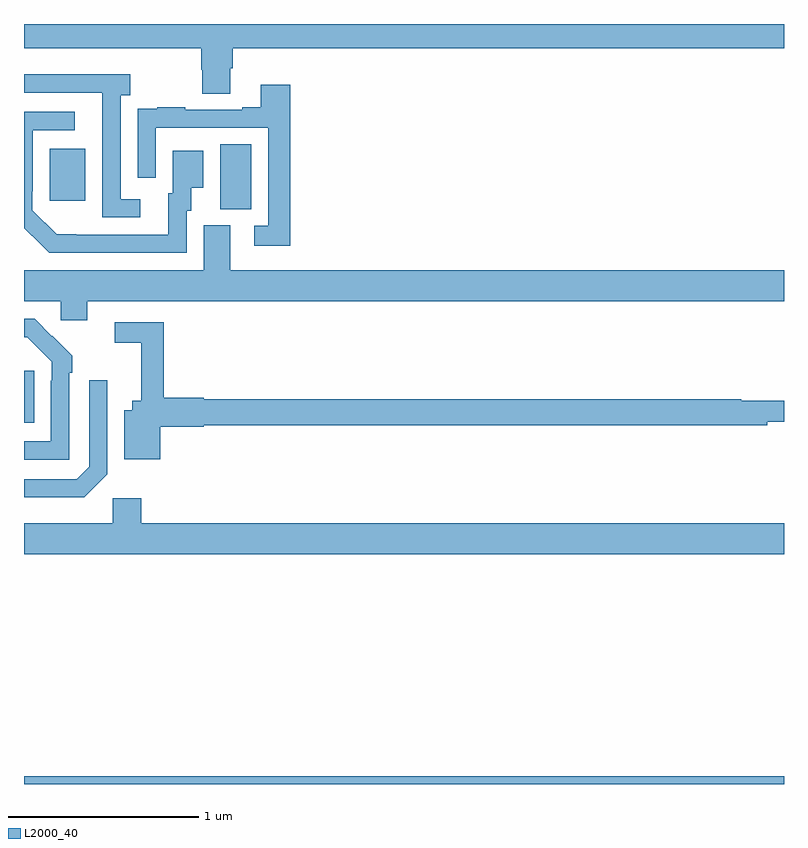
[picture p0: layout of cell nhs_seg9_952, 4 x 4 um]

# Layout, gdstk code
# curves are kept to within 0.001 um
import gdstk
lib = gdstk.Library(unit=1e-6, precision=1e-09)
def R(c, l, rs):  # rectangles x0, y0, x1, y1
    for r in rs: c.add(gdstk.rectangle(r[:2], r[2:], *l))
def P(c, l, *ps):  # polygons
    for p in ps: c.add(gdstk.Polygon(p, *l))
L2000_40 = (2000, 40)

nhs_seg9_952 = lib.new_cell('nhs_seg9_952')
R(nhs_seg9_952, L2000_40, [(161,1240.5,165,1240.54), (161,1242.401,161.053,1242.676), (162.032,1243.525,162.196,1243.868), (161.135,1243.569,161.323,1243.843)])
P(nhs_seg9_952, L2000_40, [(162.085,1244.266),(162.098,1244.266),(162.098,1244.372),(165,1244.372),(165,1244.5),(161,1244.5),(161,1244.372),(161.933,1244.372),(161.933,1244.259),(161.938,1244.259),(161.938,1244.134),(162.085,1244.134)],
  [(161.611,1243.578),(161.508,1243.578),(161.508,1244.126),(161.56,1244.126),(161.56,1244.236),(161,1244.236),(161,1244.139),(161.411,1244.139),(161.411,1243.939),(161.412,1243.939),(161.412,1243.482),(161.611,1243.482)],
  [(162.401,1244.179),(162.245,1244.179),(162.245,1244.062),(162.149,1244.062),(162.149,1244.049),(161.849,1244.049),(161.849,1244.062),(161.701,1244.062),(161.701,1244.055),(161.599,1244.055),(161.599,1243.946),(161.598,1243.946),(161.598,1243.692),(161.694,1243.692),(161.694,1243.953),(162.285,1243.953),(162.285,1243.437),(162.213,1243.437),(162.213,1243.332),(162.401,1243.332)],
  [(161.856,1243.518),(161.881,1243.518),(161.881,1243.637),(161.944,1243.637),(161.944,1243.834),(161.783,1243.834),(161.783,1243.608),(161.759,1243.608),(161.759,1243.392),(161.172,1243.393),(161.043,1243.521),(161.043,1243.621),(161.046,1243.621),(161.046,1243.941),(161.266,1243.941),(161.266,1244.037),(161,1244.037),(161,1243.426),(161.132,1243.296),(161.856,1243.296)],
  [(161.332,1243.04),(165,1243.04),(165,1243.204),(162.085,1243.204),(162.085,1243.44),(161.945,1243.44),(161.945,1243.204),(161,1243.204),(161,1243.04),(161.193,1243.04),(161.193,1242.942),(161.332,1242.942)],
  [(161.238,1242.665),(161.253,1242.665),(161.253,1242.753),(161.056,1242.948),(161,1242.948),(161,1242.852),(161.017,1242.852),(161.145,1242.723),(161.145,1242.623),(161.142,1242.623),(161.142,1242.303),(161,1242.303),(161,1242.207),(161.238,1242.207)],
  [(161.716,1242.38),(161.946,1242.38),(161.946,1242.388),(164.912,1242.388),(164.912,1242.407),(165,1242.407),(165,1242.517),(164.776,1242.517),(164.776,1242.524),(161.946,1242.524),(161.946,1242.532),(161.735,1242.532),(161.735,1242.93),(161.478,1242.93),(161.478,1242.822),(161.618,1242.822),(161.618,1242.517),(161.57,1242.517),(161.57,1242.466),(161.528,1242.466),(161.528,1242.209),(161.716,1242.209)],
  [(161.439,1242.129),(161.439,1242.625),(161.343,1242.625),(161.343,1242.171),(161.277,1242.105),(161,1242.105),(161,1242.008),(161.318,1242.008)],
  [(165,1241.872),(161.618,1241.872),(161.618,1242.004),(161.466,1242.004),(161.466,1241.872),(161,1241.872),(161,1241.708),(165,1241.708)])

lib.write_gds('nhs_seg9_952.gds')
